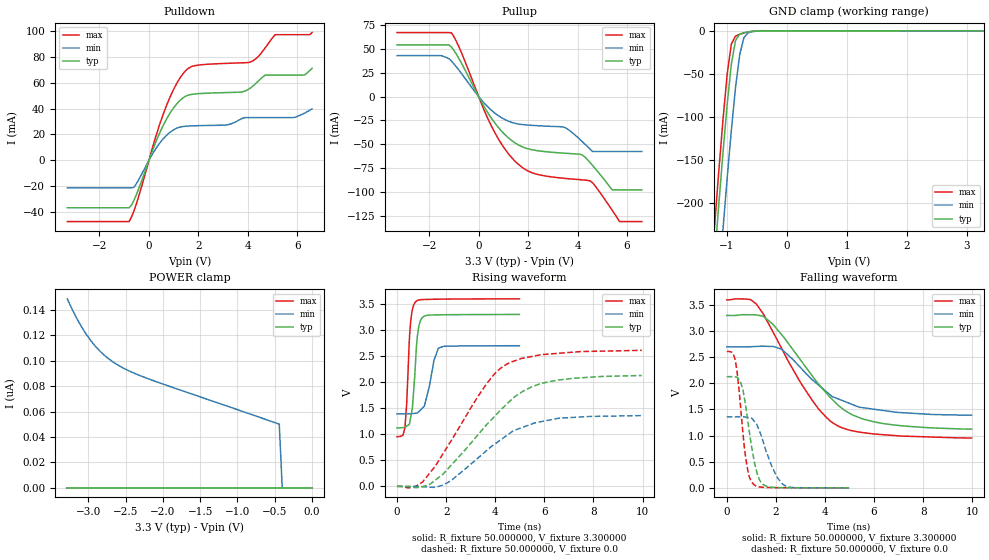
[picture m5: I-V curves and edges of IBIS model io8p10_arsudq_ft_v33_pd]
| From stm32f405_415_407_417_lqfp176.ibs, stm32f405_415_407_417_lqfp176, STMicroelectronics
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|   Model io8p10_arsudq_ft_v33_pd
[Model]  io8p10_arsudq_ft_v33_pd
Model_type I/O
Polarity   Non-Inverting
Enable   Active-Low
Vinl =   0.990000V
Vinh =   2.310000V
Vmeas =  1.650000V
Cref =   40.000000pF
Rref =   100.000000M
Vref =   0.0V
C_comp   2.292100pF   2.219400pF   2.369900pF
[Temperature Range]   25.000000   0.125000k   -40.000000
[Pullup Reference]   3.300000V   2.700000V   3.600000V
[Pulldown Reference]   0.0V   0.0V   0.0V
[POWER Clamp Reference]   3.300000V   2.700000V   3.600000V
[GND Clamp Reference]   0.0V   0.0V   0.0V
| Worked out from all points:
|   slope of the pulldown table from 0 to 0.495 V, typ, clamps not added: 20.9 ohm
|   slope of the pullup table from 0 to 0.495 V, typ, clamps not added: 22.6 ohm
|   GND clamp passes 1 mA (typ) near -0.62 V on its own axis
|   rising waveform, R_fixture 50.000000, V_fixture 3.300000: 20-80 % time 191ps typ, 347ps min, 162ps max; typ from 1.12 V to 3.3 V
|   rising waveform, R_fixture 50.000000, V_fixture 0.0: 20-80 % time 2.5ns typ, 2.23ns min, 2.11ns max; typ from 0 V to 2.13 V
|   falling waveform, R_fixture 50.000000, V_fixture 3.300000: 20-80 % time 2.25ns typ, 2.08ns min, 2ns max; typ from 3.3 V to 1.12 V
|   falling waveform, R_fixture 50.000000, V_fixture 0.0: 20-80 % time 434ps typ, 651ps min, 337ps max; typ from 2.13 V to 0 V
[Pulldown]
|Voltage   I(typ)   I(min)   I(max)
-3.3V     -36.46mA   -21.1mA    -47.09mA
-800mV    -36.46mA   -21.1mA    -47.09mA
-600mV    -30.5mA    -20.54mA   -38.69mA
700mV     31.4mA     19.11mA    41.71mA
1.2V      45.15mA    25.37mA    61.75mA
1.6V      50.35mA    26.5mA     71.06mA
3.1V      52.27mA    27.26mA    74.75mA
4.1V      55.69mA    32.97mA    75.8mA
4.7V      65.7mA     32.97mA    86.63mA
5.1V      65.7mA     32.97mA    96.89mA
6.3V      65.87mA    36.5mA     96.89mA
6.6V      70.93mA    39.71mA    98.5mA
[Pullup]
|Voltage   I(typ)   I(min)   I(max)
-3.3V     54.18mA    42.91mA    67.11mA
-1.5V     54.18mA    42.91mA    67.11mA
-1.1V     51.95mA    37.26mA    66.85mA
500mV     -22.07mA   -14mA      -30.03mA
1.5V      -49.1mA    -28.3mA    -68.56mA
2.2V      -56.04mA   -30.32mA   -80.35mA
3.5V      -59.53mA   -32.65mA   -85.92mA
4.2V      -61.43mA   -47.47mA   -87.46mA
4.5V      -69.06mA   -55.01mA   -88.38mA
5.4V      -97.9mA    -57.7mA    -119.3mA
5.7V      -97.9mA    -57.7mA    -131.2mA
6.6V      -97.9mA    -57.7mA    -131.2mA
[GND_clamp]
|Voltage   I(typ)   I(min)   I(max)
-3.3V     -2.314A    -2.394A    -2.288A
-1.2V     -265.5mA   -356.1mA   -227.2mA
-1.13V    -202.7mA   -292.9mA   -164.1mA
-1.06V    -142.2mA   -231.2mA   -104.1mA
-990mV    -85.98mA   -171.6mA   -50.73mA
-920mV    -38.81mA   -115.5mA   -15.29mA
-850mV    -11.09mA   -65.61mA   -6.016mA
-780mV    -3.793mA   -27.42mA   -3.89mA
-710mV    -2.098mA   -7.698mA   -2.396mA
-640mV    -1.159mA   -2.127mA   -1.234mA
-570mV    -535.1uA   -807.4uA   -490.2uA
3.28V     81.28uA    57.87uA    93.98uA
[POWER_clamp]
|Voltage   I(typ)   I(min)   I(max)
-3.28V    0A         148.5nA    0A
-3.2V     0A         138.6nA    0A
-3.12V    0A         129.7nA    0A
-3.04V    0A         122nA      0A
-2.96V    0A         115.3nA    0A
-2.8V     0A         105.1nA    0A
-2.6V     0A         96.44nA    0A
-2.4V     0A         90.52nA    0A
-2.16V    0A         84.97nA    0A
-440mV    0A         50.04nA    0A
-400mV    0A         0A         0A
0V        0A         0A         0A
[Ramp]
| variable   typ   min   max
dV/dt_r  1.26888/2.50918n   0.81174/2.23457n   1.56432/2.11078n
dV/dt_f  1.28538/2.23859n   0.77994/2.08031n   1.57565/2.00680n
R_load = 50.000000
[Rising Waveform]
R_fixture= 50.000000
V_fixture= 3.300000
V_fixture_min= 2.700000
V_fixture_max= 3.600000
|time   V(typ)   V(min)   V(max)
0s        1.123V     1.391V     953.8mV
320.3ps   1.132V     1.39V      1.121V
550.6ps   1.307V     1.393V     3.128V
630.6ps   1.53V      1.396V     3.399V
750.8ps   2.355V     1.402V     3.538V
830.8ps   2.888V     1.409V     3.566V
961ps     3.188V     1.469V     3.582V
1.111ns   3.265V     1.538V     3.585V
1.692ns   3.291V     2.654V     3.592V
4.985ns   3.299V     2.699V     3.598V
[Rising Waveform]
R_fixture= 50.000000
V_fixture= 0.0
V_fixture_min= 0.0
V_fixture_max= 0.0
|time   V(typ)   V(min)   V(max)
0s        195.2uV    84.8uV     739.8uV
560.6ps   -10.5mV    -67.49uV   -22.18mV
1.041ns   -4.656mV   -5.015mV   84.83mV
1.381ns   54.17mV    -16.96mV   285.3mV
2.182ns   393.7mV    104.5mV    859.9mV
3.604ns   1.16V      669mV      1.938V
4.444ns   1.567V     968mV      2.337V
5.165ns   1.834V     1.142V     2.463V
6.146ns   2.004V     1.267V     2.537V
9.97ns    2.127V     1.358V     2.611V
[Falling Waveform]
R_fixture= 50.000000
V_fixture= 3.300000
V_fixture_min= 2.700000
V_fixture_max= 3.600000
|time   V(typ)   V(min)   V(max)
0s        3.299V     2.699V     3.598V
961ps     3.313V     2.701V     3.604V
1.201ns   3.309V     2.706V     3.521V
1.502ns   3.279V     2.709V     3.318V
2.242ns   2.928V     2.652V     2.662V
3.483ns   2.142V     2.07V      1.676V
4.484ns   1.606V     1.712V     1.196V
5.125ns   1.395V     1.593V     1.091V
6.326ns   1.234V     1.484V     1.019V
9.97ns    1.123V     1.391V     953.8mV
[Falling Waveform]
R_fixture= 50.000000
V_fixture= 0.0
V_fixture_min= 0.0
V_fixture_max= 0.0
|time   V(typ)   V(min)   V(max)
0s        2.127V     1.358V     2.611V
340.3ps   2.124V     1.357V     2.455V
560.6ps   2.029V     1.357V     1.569V
810.8ps   1.437V     1.351V     454.2mV
1.071ns   634.1mV    1.304V     80.48mV
1.241ns   273.9mV    1.195V     28.32mV
1.431ns   87.45mV    961.3mV    11.98mV
1.832ns   11.59mV    414.6mV    4.249mV
2.342ns   2.491mV    48.81mV    2.105mV
4.985ns   195.2uV    84.8uV     739.8uV
